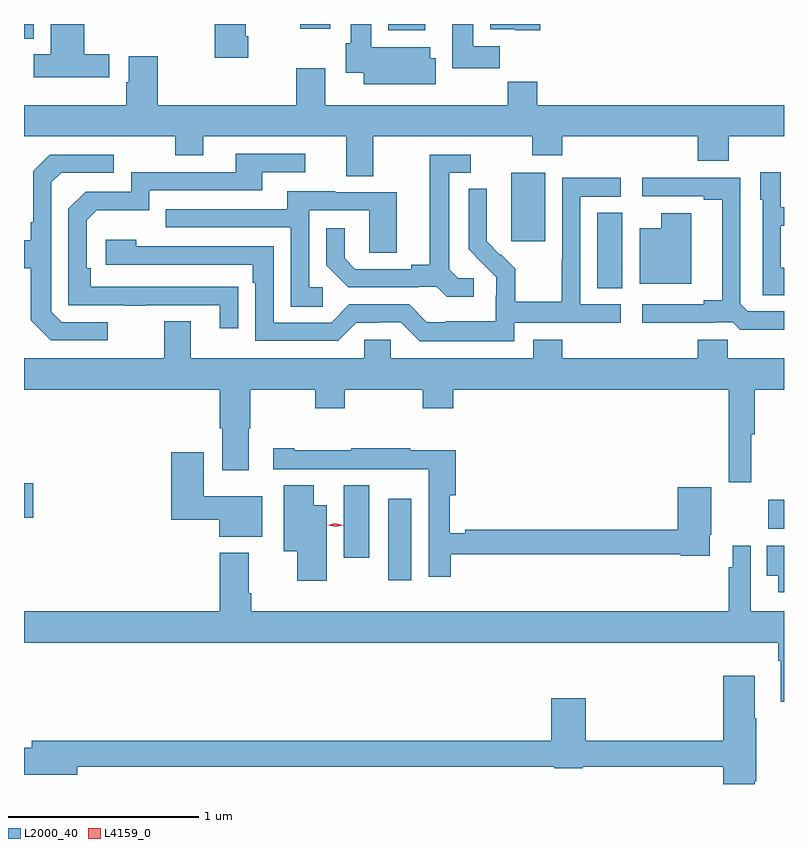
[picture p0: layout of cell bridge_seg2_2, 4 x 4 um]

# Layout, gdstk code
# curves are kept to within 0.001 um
import gdstk
lib = gdstk.Library(unit=1e-6, precision=1e-09)
def R(c, l, rs):  # rectangles x0, y0, x1, y1
    for r in rs: c.add(gdstk.rectangle(r[:2], r[2:], *l))
def P(c, l, *ps):  # polygons
    for p in ps: c.add(gdstk.Polygon(p, *l))
L2000_40 = (2000, 40)
L4159_0 = (4159, 0)

bridge_seg2_2 = lib.new_cell('bridge_seg2_2')
R(bridge_seg2_2, L2000_40, [(868.214,638.64,868.336,639.07), (867.98,638.76,868.114,639.14), (870.216,638.912,870.298,639.065), (866.298,638.969,866.347,639.152), (869.315,640.177,869.446,640.574), (868.862,640.425,869.041,640.786), (866.298,641.491,866.35,641.568), (868.214,641.534,868.411,641.568), (867.752,641.544,867.91,641.568)])
P(bridge_seg2_2, L2000_40, [(869.015,641.568),(868.751,641.568),(868.751,641.54),(868.884,641.54),(868.884,641.534),(869.015,641.534)],
  [(868.802,641.452),(868.663,641.452),(868.663,641.568),(868.553,641.568),(868.553,641.334),(868.802,641.334)],
  [(866.746,641.41),(866.614,641.41),(866.614,641.568),(866.438,641.568),(866.438,641.41),(866.35,641.41),(866.35,641.288),(866.746,641.288)],
  [(868.465,641.387),(868.435,641.387),(868.435,641.446),(868.126,641.446),(868.126,641.568),(868.019,641.568),(868.019,641.466),(867.992,641.466),(867.992,641.312),(868.085,641.312),(868.085,641.252),(868.465,641.252)],
  [(867.479,641.503),(867.466,641.503),(867.466,641.568),(867.301,641.568),(867.301,641.391),(867.479,641.391)],
  [(868.135,640.976),(868.972,640.976),(868.972,640.877),(869.132,640.877),(869.132,640.976),(869.843,640.976),(869.843,640.848),(870.007,640.848),(870.007,640.976),(870.298,640.976),(870.298,641.14),(869,641.14),(869,641.264),(868.843,641.264),(868.843,641.14),(867.883,641.14),(867.883,641.335),(867.731,641.335),(867.731,641.14),(867.002,641.14),(867.002,641.398),(866.849,641.398),(866.849,641.261),(866.837,641.261),(866.837,641.14),(866.298,641.14),(866.298,640.976),(867.094,640.976),(867.094,640.877),(867.241,640.877),(867.241,640.976),(867.995,640.976),(867.995,640.768),(868.135,640.768)],
  [(867.425,640.184),(866.648,640.185),(866.648,640.282),(866.628,640.282),(866.628,640.536),(866.681,640.589),(866.958,640.589),(866.958,640.692),(867.553,640.692),(867.553,640.788),(867.778,640.788),(867.778,640.884),(867.413,640.884),(867.413,640.788),(866.862,640.788),(866.862,640.686),(866.622,640.686),(866.532,640.596),(866.532,640.089),(866.827,640.089),(866.827,640.084),(866.939,640.084),(866.939,640.089),(867.329,640.089),(867.329,639.966),(867.425,639.966)],
  [(866.74,639.999),(866.496,639.999),(866.442,640.053),(866.442,640.734),(866.493,640.785),(866.77,640.785),(866.77,640.881),(866.433,640.881),(866.346,640.794),(866.346,640.525),(866.334,640.525),(866.334,640.429),(866.298,640.429),(866.298,640.282),(866.334,640.282),(866.334,640.009),(866.439,639.903),(866.74,639.903)],
  [(868.666,640.23),(868.584,640.23),(868.537,640.277),(868.537,640.785),(868.648,640.785),(868.648,640.881),(868.433,640.881),(868.433,640.301),(868.337,640.301),(868.337,640.278),(868.042,640.278),(867.985,640.335),(867.985,640.492),(867.888,640.492),(867.888,640.298),(868.004,640.182),(868.376,640.182),(868.376,640.185),(868.47,640.185),(868.522,640.133),(868.666,640.133)],
  [(870.298,640.284),(870.282,640.284),(870.282,640.506),(870.298,640.506),(870.298,640.603),(870.282,640.603),(870.282,640.789),(870.173,640.789),(870.173,640.644),(870.186,640.644),(870.186,640.141),(870.298,640.141)],
  [(870.298,640.056),(870.108,640.056),(870.069,640.095),(870.069,640.758),(869.553,640.758),(869.553,640.662),(869.876,640.662),(869.876,640.642),(869.972,640.642),(869.972,640.115),(869.876,640.115),(869.876,640.092),(869.553,640.092),(869.553,639.995),(869.933,639.995),(869.933,639.999),(870.027,639.999),(870.067,639.96),(870.298,639.96)],
  [(868.878,639.996),(869.44,639.996),(869.44,640.092),(869.226,640.092),(869.226,640.659),(869.44,640.659),(869.44,640.758),(869.13,640.758),(869.13,640.328),(869.128,640.328),(869.128,640.105),(868.883,640.105),(868.883,640.279),(868.806,640.356),(868.803,640.353),(868.733,640.424),(868.734,640.7),(868.638,640.7),(868.638,640.382),(868.784,640.234),(868.784,640.137),(868.782,640.137),(868.782,640.003),(868.519,640.003),(868.519,639.999),(868.419,639.999),(868.326,640.092),(868.011,640.092),(867.915,639.996),(867.612,639.996),(867.612,640.398),(866.888,640.398),(866.888,640.432),(866.727,640.432),(866.727,640.302),(867.503,640.302),(867.503,640.205),(867.516,640.205),(867.516,639.9),(867.951,639.9),(868.047,639.996),(868.166,639.996),(868.166,639.999),(868.281,639.999),(868.381,639.899),(868.878,639.899)],
  [(867.871,640.182),(867.798,640.182),(867.798,640.587),(868.116,640.587),(868.116,640.363),(868.261,640.363),(868.261,640.683),(867.937,640.683),(867.937,640.687),(867.683,640.687),(867.683,640.593),(867.043,640.593),(867.043,640.497),(867.702,640.497),(867.702,640.081),(867.871,640.081)],
  [(869.809,640.573),(869.651,640.573),(869.651,640.492),(869.54,640.492),(869.54,640.202),(869.809,640.202)],
  [(870.125,639.408),(870.143,639.408),(870.143,639.644),(870.298,639.644),(870.298,639.808),(870.003,639.808),(870.003,639.906),(869.843,639.906),(869.843,639.808),(869.132,639.808),(869.132,639.907),(868.979,639.907),(868.979,639.808),(868.227,639.808),(868.227,639.906),(868.089,639.906),(868.089,639.808),(867.175,639.808),(867.175,640.003),(867.035,640.003),(867.035,639.808),(866.298,639.808),(866.298,639.644),(867.329,639.644),(867.329,639.44),(867.341,639.44),(867.341,639.219),(867.481,639.219),(867.481,639.44),(867.489,639.44),(867.489,639.644),(867.832,639.644),(867.832,639.545),(867.987,639.545),(867.987,639.644),(868.396,639.644),(868.396,639.545),(868.556,639.545),(868.556,639.644),(870.007,639.644),(870.007,639.156),(870.125,639.156)],
  [(868.544,638.778),(869.754,638.778),(869.754,638.77),(869.908,638.77),(869.908,638.881),(869.916,638.881),(869.916,639.13),(869.738,639.13),(869.738,638.906),(868.621,638.906),(868.621,638.888),(868.54,638.888),(868.54,639.089),(868.571,639.089),(868.571,639.324),(868.331,639.324),(868.331,639.334),(868.021,639.334),(868.021,639.324),(867.721,639.324),(867.721,639.334),(867.609,639.334),(867.609,639.225),(868.218,639.225),(868.218,639.224),(868.428,639.224),(868.428,638.658),(868.544,638.658)],
  [(867.553,639.082),(867.244,639.082),(867.244,639.313),(867.074,639.313),(867.074,638.96),(867.326,638.96),(867.326,638.87),(867.553,638.87)],
  [(867.892,639.034),(867.823,639.034),(867.823,639.14),(867.665,639.14),(867.665,638.792),(867.737,638.792),(867.737,638.637),(867.892,638.637)],
  [(870.298,638.821),(870.208,638.821),(870.208,638.663),(870.269,638.663),(870.269,638.576),(870.298,638.576)],
  [(870.298,638.476),(870.123,638.476),(870.123,638.821),(870.027,638.821),(870.027,638.708),(870.007,638.708),(870.007,638.476),(867.494,638.476),(867.494,638.572),(867.481,638.572),(867.481,638.785),(867.329,638.785),(867.329,638.476),(866.298,638.476),(866.298,638.312),(870.269,638.312),(870.269,638.216),(870.281,638.216),(870.281,638.001),(870.298,638.001)],
  [(870.145,637.582),(870.153,637.582),(870.153,637.913),(870.145,637.913),(870.145,638.137),(869.978,638.137),(869.978,637.796),(869.255,637.796),(869.255,638.02),(869.072,638.02),(869.072,637.796),(866.339,637.796),(866.339,637.76),(866.298,637.76),(866.298,637.618),(866.578,637.618),(866.578,637.66),(869.088,637.66),(869.088,637.652),(869.238,637.652),(869.238,637.66),(869.978,637.66),(869.978,637.568),(870.145,637.568)])
P(bridge_seg2_2, L4159_0, [(867.938,638.921),(867.897,638.93),(867.897,638.93),(867.897,638.93),(867.937,638.94),(867.978,638.931),(867.978,638.931),(867.978,638.931)])

lib.write_gds('bridge_seg2_2.gds')
